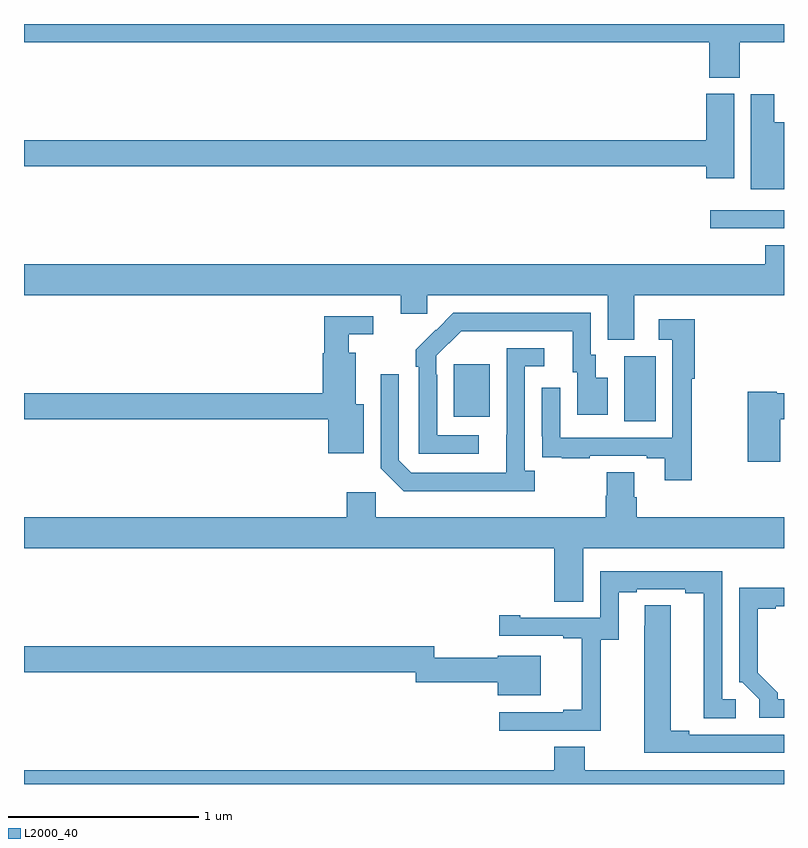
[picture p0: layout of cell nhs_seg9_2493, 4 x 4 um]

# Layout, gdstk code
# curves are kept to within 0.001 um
import gdstk
lib = gdstk.Library(unit=1e-6, precision=1e-09)
def R(c, l, rs):  # rectangles x0, y0, x1, y1
    for r in rs: c.add(gdstk.rectangle(r[:2], r[2:], *l))
def P(c, l, *ps):  # polygons
    for p in ps: c.add(gdstk.Polygon(p, *l))
L2000_40 = (2000, 40)

nhs_seg9_2493 = lib.new_cell('nhs_seg9_2493')
R(nhs_seg9_2493, L2000_40, [(256.16,1210.408,256.324,1210.752), (255.263,1210.433,255.451,1210.708), (256.611,1211.424,257,1211.52)])
P(nhs_seg9_2493, L2000_40, [(256.767,1212.404),(257,1212.404),(257,1212.5),(253,1212.5),(253,1212.404),(256.607,1212.404),(256.607,1212.217),(256.767,1212.217)],
  [(256.738,1212.132),(256.592,1212.132),(256.592,1211.888),(253,1211.888),(253,1211.752),(256.592,1211.752),(256.592,1211.688),(256.738,1211.688)],
  [(257,1211.983),(256.948,1211.983),(256.948,1212.13),(256.826,1212.13),(256.826,1211.63),(257,1211.63)],
  [(256.213,1211.072),(257,1211.072),(257,1211.335),(256.901,1211.335),(256.901,1211.236),(253,1211.236),(253,1211.072),(254.984,1211.072),(254.984,1210.974),(255.123,1210.974),(255.123,1211.072),(256.073,1211.072),(256.073,1210.837),(256.213,1210.837)],
  [(255.394,1210.335),(255.174,1210.335),(255.174,1210.655),(255.171,1210.655),(255.171,1210.755),(255.3,1210.884),(255.887,1210.884),(255.887,1210.668),(255.911,1210.668),(255.911,1210.443),(256.072,1210.443),(256.072,1210.639),(256.009,1210.639),(256.009,1210.758),(255.984,1210.758),(255.984,1210.98),(255.26,1210.98),(255.063,1210.785),(255.063,1210.697),(255.078,1210.697),(255.078,1210.239),(255.394,1210.239)],
  [(254.788,1210.498),(254.746,1210.498),(254.746,1210.771),(254.71,1210.771),(254.71,1210.866),(254.839,1210.866),(254.839,1210.962),(254.581,1210.962),(254.581,1210.767),(254.573,1210.767),(254.573,1210.556),(253,1210.556),(253,1210.42),(254.6,1210.42),(254.6,1210.241),(254.788,1210.241)],
  [(256.514,1210.632),(256.529,1210.632),(256.529,1210.945),(256.341,1210.945),(256.341,1210.839),(256.413,1210.839),(256.413,1210.323),(255.822,1210.323),(255.822,1210.585),(255.726,1210.585),(255.726,1210.33),(255.727,1210.33),(255.727,1210.221),(255.829,1210.221),(255.829,1210.215),(255.977,1210.215),(255.977,1210.227),(256.277,1210.227),(256.277,1210.215),(256.373,1210.215),(256.373,1210.098),(256.514,1210.098)],
  [(255.688,1210.15),(255.636,1210.15),(255.636,1210.698),(255.739,1210.698),(255.739,1210.794),(255.54,1210.794),(255.539,1210.137),(255.039,1210.137),(254.973,1210.203),(254.973,1210.657),(254.877,1210.657),(254.877,1210.161),(254.998,1210.04),(255.688,1210.04)],
  [(256.979,1210.42),(257,1210.42),(257,1210.556),(256.962,1210.556),(256.962,1210.564),(256.808,1210.564),(256.808,1210.197),(256.979,1210.197)],
  [(257,1209.904),(256.226,1209.904),(256.226,1210.01),(256.213,1210.01),(256.213,1210.142),(256.066,1210.142),(256.066,1210.017),(256.061,1210.017),(256.061,1209.904),(254.85,1209.904),(254.85,1210.036),(254.699,1210.036),(254.699,1209.904),(253,1209.904),(253,1209.74),(255.791,1209.74),(255.791,1209.46),(255.943,1209.46),(255.943,1209.74),(257,1209.74)],
  [(256.035,1209.259),(256.129,1209.259),(256.129,1209.51),(256.225,1209.51),(256.225,1209.525),(256.481,1209.525),(256.481,1209.505),(256.577,1209.505),(256.577,1208.845),(256.747,1208.845),(256.747,1208.946),(256.674,1208.946),(256.674,1209.621),(256.032,1209.621),(256.032,1209.375),(255.613,1209.375),(255.613,1209.388),(255.501,1209.388),(255.501,1209.279),(255.839,1209.279),(255.839,1209.267),(255.935,1209.267),(255.935,1208.89),(255.839,1208.89),(255.839,1208.877),(255.501,1208.877),(255.501,1208.781),(256.035,1208.781)],
  [(257,1208.946),(256.966,1208.946),(256.966,1208.981),(256.861,1209.086),(256.861,1209.423),(256.957,1209.423),(256.957,1209.435),(257,1209.435),(257,1209.533),(256.764,1209.533),(256.764,1209.036),(256.779,1209.036),(256.869,1208.946),(256.869,1208.85),(257,1208.85)],
  [(257,1208.76),(256.501,1208.76),(256.501,1208.78),(256.405,1208.78),(256.405,1209.44),(256.266,1209.44),(256.266,1209.332),(256.265,1209.332),(256.265,1208.664),(257,1208.664)],
  [(255.721,1209.175),(255.494,1209.175),(255.494,1209.164),(255.159,1209.164),(255.159,1209.224),(253,1209.224),(253,1209.088),(255.063,1209.088),(255.063,1209.036),(255.494,1209.036),(255.494,1208.966),(255.721,1208.966)],
  [(257,1208.572),(255.951,1208.572),(255.951,1208.696),(255.791,1208.696),(255.791,1208.572),(253,1208.572),(253,1208.5),(257,1208.5)])

lib.write_gds('nhs_seg9_2493.gds')
